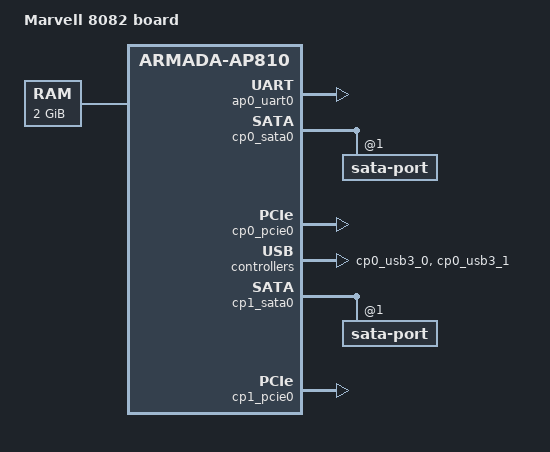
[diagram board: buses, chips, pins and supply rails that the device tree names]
// SPDX-License-Identifier: (GPL-2.0+ OR MIT)
/*
 * Copyright (C) 2017 Marvell Technology Group Ltd.
 *
 * Device Tree file for Marvell Armada-8082 Development board platform
 */

#include "armada-8082.dtsi"

/ {
	model = "Marvell 8082 board";
	compatible = "marvell,armada-8082-db", "marvell,armada-8082",
		     "marvell,armada-ap810-octa", "marvell,armada-ap810";

	chosen {
		stdout-path = "serial0:115200n8";
	};

	memory@00000000 {
		device_type = "memory";
		reg = <0x0 0x0 0x0 0x80000000>;
	};
};

&ap0_uart0 {
	clock-frequency = <200000000>;
	status = "okay";
};

&ap0_xor0 {
	status = "disabled";
};

&ap0_xor1 {
	status = "disabled";
};

&cp0_sata0 {
	status = "okay";
	sata-port@1 {
		reg = <1>;
		status = "okay";
	};
};

&cp0_pcie0 {
	status = "okay";
};

&cp0_usb3_0 {
	status = "okay";
};

&cp0_usb3_1 {
	status = "okay";
};

&cp1_sata0 {
	status = "okay";
	sata-port@1 {
		reg = <1>;
		status = "okay";
	};
};

&cp1_pcie0 {
	status = "okay";
};
